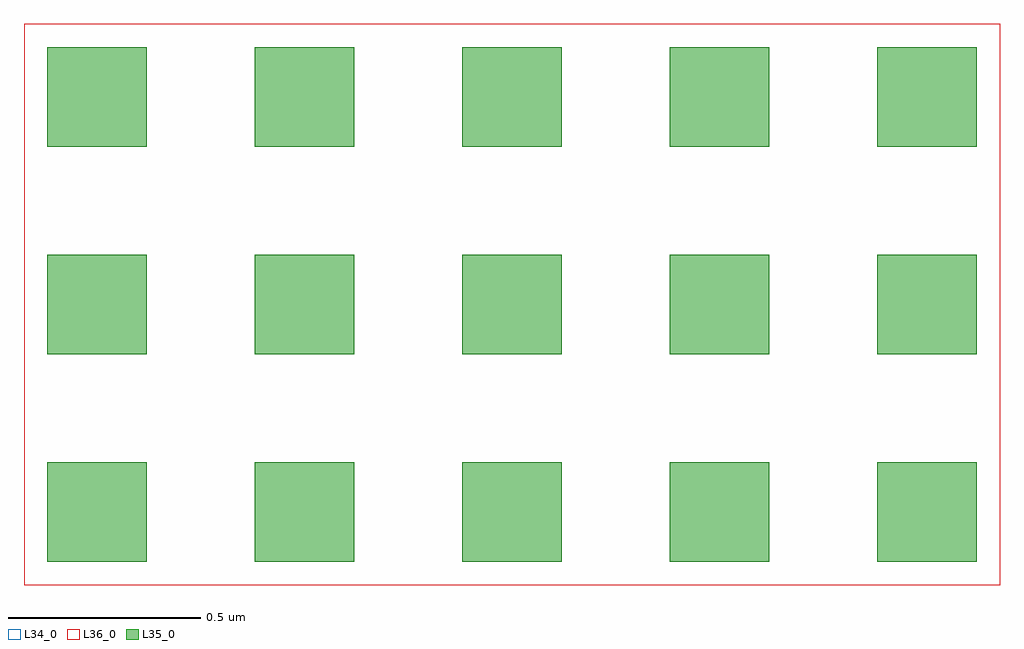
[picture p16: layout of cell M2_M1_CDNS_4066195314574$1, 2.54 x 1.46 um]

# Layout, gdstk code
import gdstk
lib = gdstk.Library(unit=1e-6, precision=1e-09)
def R(c, l, rs):  # rectangles x0, y0, x1, y1
    for r in rs: c.add(gdstk.rectangle(r[:2], r[2:], *l))
def A(c, l, x, y, w, h, nx, ny, dx, dy):  # array of equal rectangles
    R(c, l, [(x+i*dx, y+j*dy, x+i*dx+w, y+j*dy+h) for i in range(nx) for j in range(ny)])
L34_0 = (34, 0)
L35_0 = (35, 0)
L36_0 = (36, 0)

m2_m1_cdns_4066195314574 = lib.new_cell('M2_M1_CDNS_4066195314574$1')
R(m2_m1_cdns_4066195314574, L34_0, [(-1.27,-0.73,1.27,0.73)])
A(m2_m1_cdns_4066195314574, L35_0, -1.21, -0.67, 0.26, 0.26, 5, 3, 0.54, 0.54)
R(m2_m1_cdns_4066195314574, L36_0, [(-1.27,-0.73,1.27,0.73)])

lib.write_gds('M2_M1_CDNS_4066195314574_1.gds')
